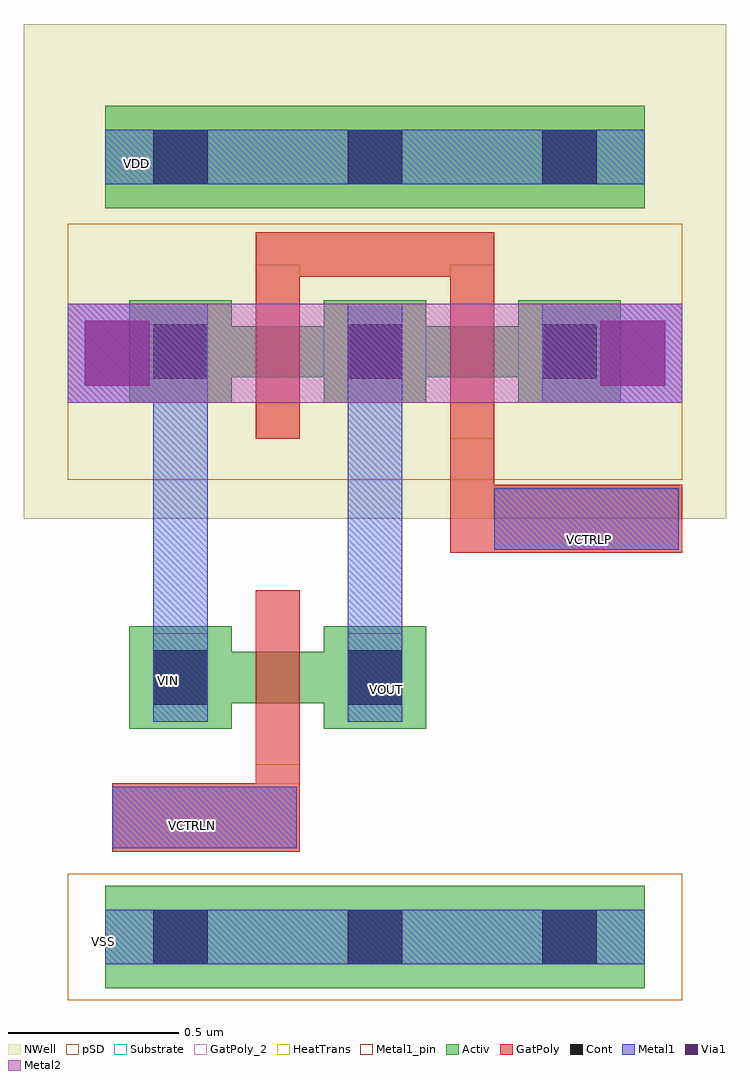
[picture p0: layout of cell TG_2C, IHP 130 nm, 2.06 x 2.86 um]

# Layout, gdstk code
import gdstk
lib = gdstk.Library(unit=1e-6, precision=5e-09)
def R(c, l, rs):  # rectangles x0, y0, x1, y1
    for r in rs: c.add(gdstk.rectangle(r[:2], r[2:], *l))
def A(c, l, x, y, w, h, nx, ny, dx, dy):  # array of equal rectangles
    R(c, l, [(x+i*dx, y+j*dy, x+i*dx+w, y+j*dy+h) for i in range(nx) for j in range(ny)])
Activ = (1, 0)
GatPoly = (5, 0)
GatPoly_2 = (5, 2)
Cont = (6, 0)
Metal1 = (8, 0)
Metal1_pin = (8, 2)
Metal2 = (10, 0)
pSD = (14, 0)
Via1 = (19, 0)
NWell = (31, 0)
Substrate = (40, 0)
HeatTrans = (51, 0)

nmos = lib.new_cell('nmos')
R(nmos, Activ, [(0,0.025,0.3,0.325), (0.57,0.025,0.87,0.325), (0,0.1,0.87,0.25)])
R(nmos, GatPoly, [(0.37,-0.08,0.5,0.43)])
R(nmos, GatPoly_2, [(0.37,-0.08,0.5,0.43)])
R(nmos, Cont, [(0.07,0.095,0.23,0.255), (0.64,0.095,0.8,0.255)])
R(nmos, Metal1, [(0.07,0.045,0.23,0.305), (0.64,0.045,0.8,0.305)])
R(nmos, Metal1_pin, [(0.07,0.045,0.23,0.305), (0.64,0.045,0.8,0.305)])
R(nmos, HeatTrans, [(0.37,-0.08,0.5,0.43)])
nmos.add(gdstk.Label('nmos', (0.435,0.175), layer=63, texttype=0))
nmos.add(gdstk.Label('nmos', (0.435,0.175), layer=51, texttype=0))

pmos = lib.new_cell('pmos')
R(pmos, Activ, [(0,-0.04,0.3,0.26), (0.57,-0.04,0.87,0.26), (0,0.035,0.87,0.185)])
R(pmos, GatPoly, [(0.37,-0.145,0.5,0.365), (0.37,-0.145,0.5,0.365)])
R(pmos, Cont, [(0.07,0.03,0.23,0.19), (0.64,0.03,0.8,0.19)])
R(pmos, Metal1, [(0.07,-0.02,0.23,0.24), (0.07,-0.02,0.23,0.25), (0.64,-0.02,0.8,0.24), (0.64,-0.02,0.8,0.24)])
R(pmos, pSD, [(-0.18,-0.265,1.05,0.485)])
R(pmos, NWell, [(-0.31,-0.38,1.18,0.545)])
R(pmos, Substrate, [(0.57,-0.04,0.87,0.26)])
R(pmos, HeatTrans, [(0.37,-0.145,0.5,0.365)])
pmos.add(gdstk.Label('pmos', (0.435,0.11), layer=63, texttype=0))
pmos.add(gdstk.Label('pmos', (0.435,0.11), layer=51, texttype=0))

via1_constraint = lib.new_cell('Via1_constraint')
R(via1_constraint, Metal1, [(0,0,0.29,0.29)])
R(via1_constraint, Metal2, [(0,0,0.29,0.29)])
R(via1_constraint, Via1, [(0.05,0.05,0.24,0.24)])

tg_2c = lib.new_cell('TG_2C')
R(tg_2c, Activ, [(0.24,0.035,1.82,0.335), (0.24,2.32,1.82,2.62)])
R(tg_2c, GatPoly_2, [(0.26,0.435,0.81,0.635), (1.38,1.31,1.93,1.51)])
A(tg_2c, Cont, 0.38, 0.105, 0.16, 0.16, 3, 2, 0.57, 2.285)
R(tg_2c, Metal1, [(0.24,0.105,1.82,0.265), (0.26,0.445,0.8,0.625), (1.38,1.32,1.92,1.5), (0.42,1.75,0.54,2.04), (1.52,1.75,1.64,2.04), (0.24,2.39,1.82,2.55)])
R(tg_2c, Metal1_pin, [(0.24,0.105,1.82,0.265), (0.26,0.445,0.8,0.625), (0.95,0.865,1.11,1.02), (1.38,1.32,1.92,1.5), (0.24,2.39,1.82,2.55)])
R(tg_2c, pSD, [(0.13,0,1.93,0.37)])
R(tg_2c, NWell, [(0,2.335,2.06,2.86)])
tg_2c.add(gdstk.FlexPath([(0.46,2.03),(0.46,0.815)], 0.16, ends="flush", simple_path=True, layer=8, datatype=0))  # Metal1
tg_2c.add(gdstk.FlexPath([(1.03,2.03),(1.03,0.815)], 0.16, ends="flush", simple_path=True, layer=8, datatype=0))  # Metal1
tg_2c.add(gdstk.FlexPath([(1.315,1.645),(1.315,1.34),(1.315,1.31)], 0.13, ends="flush", simple_path=True, layer=5, datatype=0))  # GatPoly
tg_2c.add(gdstk.FlexPath([(1.38,1.41),(1.93,1.41),(1.93,1.41)], 0.2, ends="flush", simple_path=True, layer=5, datatype=0))  # GatPoly
tg_2c.add(gdstk.FlexPath([(0.26,0.535),(0.81,0.535),(0.81,0.535)], 0.2, ends="flush", simple_path=True, layer=5, datatype=0))  # GatPoly
tg_2c.add(gdstk.FlexPath([(0.745,0.69),(0.745,0.635),(0.745,0.635)], 0.13, ends="flush", simple_path=True, layer=5, datatype=0))  # GatPoly
tg_2c.add(gdstk.FlexPath([(0.745,2.085),(0.745,2.185),(1.315,2.185),(1.315,2.085)], 0.13, ends="flush", simple_path=True, layer=5, datatype=0))  # GatPoly
tg_2c.add(gdstk.FlexPath([(0.31,1.895),(1.75,1.895),(1.75,1.895)], 0.29, ends="flush", simple_path=True, layer=10, datatype=0))  # Metal2
tg_2c.add(gdstk.Reference(nmos, (0.31,0.77)))
tg_2c.add(gdstk.Reference(pmos, (0.31,1.79)))
tg_2c.add(gdstk.Reference(pmos, (0.88,1.79)))
tg_2c.add(gdstk.Reference(via1_constraint, (1.64,1.75)))
tg_2c.add(gdstk.Reference(via1_constraint, (0.13,1.75)))
tg_2c.add(gdstk.Label('VCTRLN', (0.495,0.51), layer=8, texttype=25))
tg_2c.add(gdstk.Label('VOUT', (1.065,0.91), layer=8, texttype=25))
tg_2c.add(gdstk.Label('VCTRLP', (1.66,1.35), layer=8, texttype=25))
tg_2c.add(gdstk.Label('VIN', (0.425,0.935), layer=8, texttype=25))
tg_2c.add(gdstk.Label('VSS', (0.235,0.17), layer=8, texttype=25))
tg_2c.add(gdstk.Label('VDD', (0.33,2.45), layer=8, texttype=25))

lib.write_gds('TG_2C.gds')
